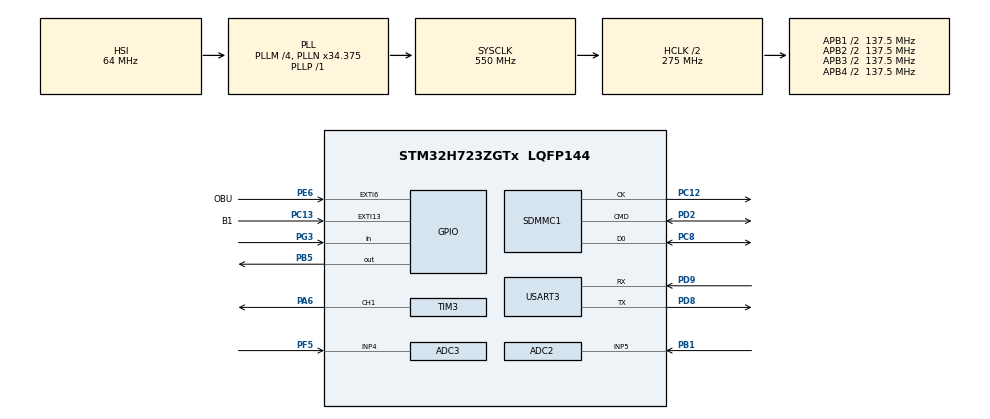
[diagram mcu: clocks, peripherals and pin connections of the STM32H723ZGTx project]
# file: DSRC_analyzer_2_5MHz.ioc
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ADC2.Channel-0\#ChannelRegularConversion=ADC_CHANNEL_5
ADC2.ConversionDataManagement=ADC_CONVERSIONDATA_DMA_CIRCULAR
ADC2.ExternalTrigConv=ADC_EXTERNALTRIG_T3_TRGO
ADC2.ExternalTrigConvEdge=ADC_EXTERNALTRIGCONVEDGE_RISINGFALLING
ADC2.NbrOfConversionFlag=1
ADC2.OffsetNumber-0\#ChannelRegularConversion=ADC_OFFSET_NONE
ADC2.OffsetSignedSaturation-0\#ChannelRegularConversion=DISABLE
ADC2.Rank-0\#ChannelRegularConversion=1
ADC2.Resolution=ADC_RESOLUTION_8B
ADC2.SamplingTime-0\#ChannelRegularConversion=ADC_SAMPLETIME_2CYCLES_5
ADC3.Channel-0\#ChannelRegularConversion=ADC_CHANNEL_4
ADC3.ConversionDataManagement=ADC_CONVERSIONDATA_DMA_CIRCULAR
ADC3.DMAContinuousRequests=ENABLE
ADC3.ExternalTrigConv=ADC_EXTERNALTRIG_T3_TRGO
ADC3.ExternalTrigConvEdge=ADC_EXTERNALTRIGCONVEDGE_RISINGFALLING
ADC3.NbrOfConversionFlag=1
ADC3.OffsetNumber-0\#ChannelRegularConversion=ADC_OFFSET_NONE
ADC3.OffsetSign-0\#ChannelRegularConversion=ADC3_OFFSET_SIGN_NEGATIVE
ADC3.Rank-0\#ChannelRegularConversion=1
ADC3.ResolutionADC3=ADC_RESOLUTION_8B
ADC3.SamplingTime-0\#ChannelRegularConversion=ADC3_SAMPLETIME_2CYCLES_5
Dma.ADC2.1.Direction=DMA_PERIPH_TO_MEMORY
Dma.ADC2.1.EventEnable=DISABLE
Dma.ADC2.1.FIFOMode=DMA_FIFOMODE_DISABLE
Dma.ADC2.1.Instance=DMA2_Stream0
Dma.ADC2.1.MemDataAlignment=DMA_MDATAALIGN_BYTE
Dma.ADC2.1.MemInc=DMA_MINC_ENABLE
Dma.ADC2.1.Mode=DMA_CIRCULAR
Dma.ADC2.1.PeriphDataAlignment=DMA_PDATAALIGN_BYTE
Dma.ADC2.1.PeriphInc=DMA_PINC_DISABLE
Dma.ADC2.1.Polarity=HAL_DMAMUX_REQ_GEN_RISING
Dma.ADC2.1.Priority=DMA_PRIORITY_VERY_HIGH
Dma.ADC2.1.RequestNumber=1
Dma.ADC2.1.SignalID=NONE
Dma.ADC2.1.SyncEnable=DISABLE
Dma.ADC2.1.SyncPolarity=HAL_DMAMUX_SYNC_NO_EVENT
Dma.ADC2.1.SyncRequestNumber=1
Dma.ADC2.1.SyncSignalID=NONE
Dma.ADC3.0.Direction=DMA_PERIPH_TO_MEMORY
Dma.ADC3.0.EventEnable=DISABLE
Dma.ADC3.0.FIFOMode=DMA_FIFOMODE_DISABLE
Dma.ADC3.0.Instance=DMA1_Stream0
Dma.ADC3.0.MemDataAlignment=DMA_MDATAALIGN_BYTE
Dma.ADC3.0.MemInc=DMA_MINC_ENABLE
Dma.ADC3.0.Mode=DMA_CIRCULAR
Dma.ADC3.0.PeriphDataAlignment=DMA_PDATAALIGN_BYTE
Dma.ADC3.0.PeriphInc=DMA_PINC_DISABLE
Dma.ADC3.0.Polarity=HAL_DMAMUX_REQ_GEN_RISING
Dma.ADC3.0.Priority=DMA_PRIORITY_VERY_HIGH
Dma.ADC3.0.RequestNumber=1
Dma.ADC3.0.SignalID=NONE
Dma.ADC3.0.SyncEnable=DISABLE
Dma.ADC3.0.SyncPolarity=HAL_DMAMUX_SYNC_NO_EVENT
Dma.ADC3.0.SyncRequestNumber=1
Dma.ADC3.0.SyncSignalID=NONE
Dma.Request0=ADC3
Dma.Request1=ADC2
FATFS.BSP.number=1
FATFS0.BSP.STBoard=false
FATFS0.BSP.api=Unknown
FATFS0.BSP.instance=PG3
FATFS0.BSP.ip=GPIO
FATFS0.BSP.mode=Input
FATFS0.BSP.name=Detect_SDIO
FATFS0.BSP.solution=PG3
Mcu.Family=STM32H7
Mcu.Name=STM32H723ZGTx
Mcu.Package=LQFP144
NVIC.DMA1_Stream0_IRQn=true\:0\:0\:false\:false\:true\:false\:true\:true
NVIC.DMA2_Stream0_IRQn=true\:0\:0\:false\:false\:true\:false\:true\:true
NVIC.EXTI15_10_IRQn=true\:0\:0\:false\:false\:true\:true\:true\:true
NVIC.EXTI9_5_IRQn=true\:0\:0\:false\:false\:true\:true\:true\:true
NVIC.PriorityGroup=NVIC_PRIORITYGROUP_4
PA6.Signal=S_TIM3_CH1
PB1.Signal=ADCx_INP5
PB5.GPIO_Speed=GPIO_SPEED_FREQ_MEDIUM
PB5.PinState=GPIO_PIN_RESET
PB5.Signal=GPIO_Output
PC12.Mode=SD_1_bit
PC12.Signal=SDMMC1_CK
PC13.GPIO_Label=B1
PC13.Signal=GPXTI13
PC8.Mode=SD_1_bit
PC8.Signal=SDMMC1_D0
PD2.Mode=SD_1_bit
PD2.Signal=SDMMC1_CMD
PD8.Mode=Asynchronous
PD8.Signal=USART3_TX
PD9.Mode=Asynchronous
PD9.Signal=USART3_RX
PE6.GPIO_Label=OBU
PE6.Signal=GPXTI6
PF5.Mode=IN4-Single-Ended
PF5.Signal=ADC3_INP4
PG3.Signal=GPIO_Input
ProjectManager.HeapSize=0x200
ProjectManager.StackSize=0x400
ProjectManager.TargetToolchain=STM32CubeIDE
RCC.ADCCLockSelection=RCC_ADCCLKSOURCE_PLL3
RCC.ADCFreq_Value=72000000
RCC.APB1Freq_Value=137500000
RCC.APB2Freq_Value=137500000
RCC.APB3Freq_Value=137500000
RCC.APB4Freq_Value=137500000
RCC.CortexFreq_Value=550000000
RCC.D1PPRE=RCC_APB3_DIV2
RCC.D2PPRE1=RCC_APB1_DIV2
RCC.D2PPRE2=RCC_APB2_DIV2
RCC.D3PPRE=RCC_APB4_DIV2
RCC.DIVM1=4
RCC.DIVM2=4
RCC.DIVM3=4
RCC.DIVN1=34
RCC.DIVN2=12
RCC.DIVN3=18
RCC.DIVP1=1
RCC.DIVQ1=5
RCC.DIVR2=1
RCC.DIVR3=4
RCC.HCLKFreq_Value=275000000
RCC.HPRE=RCC_HCLK_DIV2
RCC.PLL2FRACN=0
RCC.PLL3FRACN=0
RCC.PLLFRACN=3072
RCC.SDMMC1CLockSelection=RCC_SDMMCCLKSOURCE_PLL2
RCC.SYSCLKFreq_VALUE=550000000
RCC.SYSCLKSource=RCC_SYSCLKSOURCE_PLLCLK
RCC.USBFreq_Value=110000000
SDMMC1.ClockDiv=4
SH.ADCx_INP5.0=ADC2_INP5,IN5-Single-Ended
SH.S_TIM3_CH1.0=TIM3_CH1,Output Compare1 CH1
TIM3.Channel-Output\ Compare1\ CH1=TIM_CHANNEL_1
TIM3.OCMode_1=TIM_OCMODE_TOGGLE
TIM3.Period=109
TIM3.TIM_MasterOutputTrigger=TIM_TRGO_UPDATE
USART3.VirtualMode-Asynchronous=VM_ASYNC
VP_FATFS_VS_SDIO.Mode=SDIO
VP_TIM3_VS_ClockSourceINT.Mode=Internal
board=custom

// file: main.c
/* USER CODE BEGIN Header */
/**
  ******************************************************************************
  * @file           : main.c
  * @brief          : Main program body
  ******************************************************************************
  * @attention
  *
  * Copyright (c) 2023 STMicroelectronics.
  * All rights reserved.
  *
  * This software is licensed under terms that can be found in the LICENSE file
  * in the root directory of this software component.
  * If no LICENSE file comes with this software, it is provided AS-IS.
  *
  ******************************************************************************
  */
/* USER CODE END Header */
#include "main.h"
#include "fatfs.h"

/* USER CODE BEGIN Includes */
#include <string.h>
#include <stdbool.h>
#include <stdio.h>
/* USER CODE END Includes */

/* USER CODE BEGIN PD */
#define DMABUFLEN 25000
#define HALFBUFLEN 12500
#define DATABUFLEN 125000
/* USER CODE END PD */

ADC_HandleTypeDef hadc2;
ADC_HandleTypeDef hadc3;
DMA_HandleTypeDef hdma_adc2;
DMA_HandleTypeDef hdma_adc3;

SD_HandleTypeDef hsd1;

TIM_HandleTypeDef htim3;

UART_HandleTypeDef huart3;

/* USER CODE BEGIN PV */
uint8_t dmaBuffer[DMABUFLEN];
uint8_t dataBuffer[DATABUFLEN];
uint8_t dmaBuffer2[DMABUFLEN];
uint8_t dataBuffer2[DATABUFLEN];
uint8_t *srcBufPtr;
bool OBU_interrupted;
static volatile bool doHalfConv;//DMA1
static volatile bool doFullConv;
static volatile bool doHalfConv2;//DMA2
static volatile bool doFullConv2;
static volatile uint8_t last_isrID;
static uint8_t idx; //0 - 9
static uint8_t idx2; //0 - 9
static volatile bool OBUInterrupt;
static volatile bool buttonPressed;
/* USER CODE END PV */

void SystemClock_Config(void);
void PeriphCommonClock_Config(void);
static void MX_GPIO_Init(void);
static void MX_DMA_Init(void);
static void MX_ADC3_Init(void);
static void MX_TIM3_Init(void);
static void MX_SDMMC1_SD_Init(void);
static void MX_USART3_UART_Init(void);
static void MX_ADC2_Init(void);
/* USER CODE BEGIN PFP */
void PrintUART(const char *str);
int init_SD_Card(void);
/* USER CODE END PFP */

/* USER CODE BEGIN 0 */
const char filename[] = "data_tx.txt";
const char filename2[] = "data_rx.txt";
/* USER CODE END 0 */

int main(void)
{
  /* USER CODE BEGIN 1 */
	FRESULT res;
	uint32_t byteswritten;
	char wtext[100] = "STM32 FATFS TEST 1";
	int err;
	OBUInterrupt = false;
	buttonPressed = false;
	for(int i = 0; i < DMABUFLEN; i++){
		dmaBuffer[i]=0;
		dmaBuffer2[i]=0;
	}
	for(int i = 0; i < DATABUFLEN; i++){
		dataBuffer[i]=0;
		dataBuffer2[i]=0;
	}
	doHalfConv = false;
	doFullConv = false;
	doHalfConv2 = false;
	doFullConv2 = false;
	idx = 9;
	idx2 = 9;
	last_isrID = 0;
	__NOP();
  /* USER CODE END 1 */

  /* MCU Configuration--------------------------------------------------------*/

  /* Reset of all peripherals, Initializes the Flash interface and the Systick. */
  HAL_Init();

  /* Configure the system clock */
  SystemClock_Config();

/* Configure the peripherals common clocks */
  PeriphCommonClock_Config();

  /* Initialize all configured peripherals */
  MX_GPIO_Init();
  MX_DMA_Init();
  MX_ADC3_Init();
  MX_TIM3_Init();
  MX_SDMMC1_SD_Init();
  MX_USART3_UART_Init();
  MX_FATFS_Init();
  MX_ADC2_Init();
  /* USER CODE BEGIN 2 */

  HAL_TIM_Base_Start(&htim3);
  HAL_TIM_OC_Start(&htim3, TIM_CHANNEL_1); //Debug line
  PrintUART("\r\n");
  PrintUART("------------------------\r\n");
  PrintUART("-DSRC Analyzer started!-\r\n");
  PrintUART("------------------------\r\n");
  PrintUART("\r\n");
  err = init_SD_Card();
  if(err){
	  PrintUART("[SD] SD Card missing\r\n\r\n");
	  PrintUART("     [INSERT SD CARD]\r\n\r\n");
  	  while(init_SD_Card()){
  		  HAL_Delay(10);
  	  }
  }
  PrintUART("[SD] Card Detected!\r\n");
  PrintUART("     [PRESS BUTTON 1 TO CONTINUE]\r\n");

  while(!buttonPressed);
  buttonPressed = false;

  PrintUART("[FATFS] Trying to mount SD ...\r\n");
  if(f_mount(&SDFatFS, (TCHAR const*)SDPath, 1) != FR_OK){
	  PrintUART("[FATFS] Mount Failed\r\n");
  }else{
	  PrintUART("[FATFS] Mount Success\r\n");
  }
  if(f_open(&SDFile, filename, FA_CREATE_ALWAYS | FA_WRITE) != FR_OK){
	  PrintUART("[FATFS] File open/make Failed\r\n");
  }else{
	  PrintUART("[FATFS] File open/make Success\r\n");
	  res = f_write(&SDFile, wtext, strlen((char *)wtext), (void *)&byteswritten);
	  if((byteswritten == 0) || (res != FR_OK))
	  {
		  PrintUART("[FATFS] Write Failed\r\n");
	  }else{
		  PrintUART("[FATFS] Write Success\r\n");
		  f_close(&SDFile);
	  }
  }

  PrintUART("     [PRESS BUTTON 1 TO START ADC]\r\n");
  while(!buttonPressed);
  buttonPressed = false;
  PrintUART("     [PRESS BUTTON 1 OR WAIT FOR OBU TO STOP ADC ]\r\n");
  HAL_ADC_Start_DMA(&hadc3, (uint32_t *)dmaBuffer, DMABUFLEN);
  //HAL_Delay(2);
  HAL_ADC_Start_DMA(&hadc2, (uint32_t *)dmaBuffer2, DMABUFLEN);
  /* USER CODE END 2 */

  /* Infinite loop */
  /* USER CODE BEGIN WHILE */
  while (1)
  {
	  if(doHalfConv){
		  PrintUART("1\r\n");
		  idx++;
		  memcpy(&dataBuffer[idx * HALFBUFLEN], &dmaBuffer[0], HALFBUFLEN);
		  __disable_irq();
		  doHalfConv = false;
		  __enable_irq();

	  }else if(doFullConv){
		  PrintUART("2\r\n");
		  idx++;
		  if(idx > 9){
			  idx = 0;
		  }
		  memcpy(&dataBuffer[idx * HALFBUFLEN], &dmaBuffer[HALFBUFLEN], HALFBUFLEN);
		  __disable_irq();
		  doFullConv = false;
		  __enable_irq();

	  }else if(doHalfConv2){
		  PrintUART("3\r\n");
		  idx2++;
		  memcpy(&dataBuffer2[idx2 * HALFBUFLEN], &dmaBuffer2[0], HALFBUFLEN);
		  __disable_irq();
		  doHalfConv2 = false;
		  __enable_irq();

	  }else if(doFullConv2){
		  PrintUART("4\r\n");
		  idx2++;
		  if(idx2 > 9){
			  idx2 = 0;
		  }
		  memcpy(&dataBuffer2[idx2 * HALFBUFLEN], &dmaBuffer2[HALFBUFLEN], HALFBUFLEN);
		  __disable_irq();
		  doFullConv2 = false;
		  __enable_irq();

	  }else if(OBUInterrupt){
		  HAL_ADC_Stop_DMA(&hadc3);
		  HAL_ADC_Stop_DMA(&hadc2);
		  PrintUART("5\r\n");
		  __disable_irq();
		  OBUInterrupt = false;
		  buttonPressed = false;
		  __enable_irq();
		  HAL_Delay(100);
		  PrintUART("[INTERRUPT] Button pressed or OBU GPIO trigger!\r\n");
		  HAL_Delay(200);
		  PrintUART("[SD] Well...\r\n");
		  if(f_mount(&SDFatFS, (TCHAR const*)SDPath, 1) != FR_OK){
			  PrintUART("[FATFS] Mount Failed\r\n");
		  }else{
			  PrintUART("[FATFS] Mount Success\r\n");
		  }

		  //Write file 1 RX
		  if(f_open(&SDFile, filename, FA_CREATE_ALWAYS | FA_WRITE) != FR_OK){
			  PrintUART("[FATFS] File open/make Failed\r\n");
		  }else{
			  PrintUART("[FATFS] File open/make Success\r\n");
			  res = f_write(&SDFile, dataBuffer, sizeof(dataBuffer), (void *)&byteswritten);
			  if((byteswritten == 0) || (res != FR_OK)){
				  PrintUART("[FATFS] Write Failed\r\n");
			  }else{
				  PrintUART("[FATFS] Write Success\r\n");
				  f_close(&SDFile);
			  }

		    	  //f_close(&SDFile);
		    	/* do something */
			  PrintUART("[FATFS] File1 written success\r\n");
			  sprintf(wtext, "Bytes: %lu \r\n", byteswritten);
			  PrintUART(wtext);
		  }

		  //Write file 2 TX
		  if(f_open(&SDFile, filename2, FA_CREATE_ALWAYS | FA_WRITE) != FR_OK){
			  PrintUART("[FATFS] File open/make Failed\r\n");
		  }else{
			  PrintUART("[FATFS] File open/make Success\r\n");
			  res = f_write(&SDFile, dataBuffer2, sizeof(dataBuffer2), (void *)&byteswritten);
			  if((byteswritten == 0) || (res != FR_OK)){
				  PrintUART("[FATFS] Write Failed\r\n");
			  }else{
				  PrintUART("[FATFS] Write Success\r\n");
				  f_close(&SDFile);
			  }
			  PrintUART("[FATFS] File 2 written success\r\n");
			  sprintf(wtext, "Bytes: %lu \r\n", byteswritten);
			  PrintUART(wtext);
		  }
	  }
    /* USER CODE END WHILE */

  }
}

void SystemClock_Config(void)
{
  RCC_OscInitTypeDef RCC_OscInitStruct = {0};
  RCC_ClkInitTypeDef RCC_ClkInitStruct = {0};

  /** Supply configuration update enable
  */
  HAL_PWREx_ConfigSupply(PWR_LDO_SUPPLY);

  /** Configure the main internal regulator output voltage
  */
  __HAL_PWR_VOLTAGESCALING_CONFIG(PWR_REGULATOR_VOLTAGE_SCALE0);

  while(!__HAL_PWR_GET_FLAG(PWR_FLAG_VOSRDY)) {}

  /** Initializes the RCC Oscillators according to the specified parameters
  * in the RCC_OscInitTypeDef structure.
  */
  RCC_OscInitStruct.OscillatorType = RCC_OSCILLATORTYPE_HSI;
  RCC_OscInitStruct.HSIState = RCC_HSI_DIV1;
  RCC_OscInitStruct.HSICalibrationValue = 64;
  RCC_OscInitStruct.PLL.PLLState = RCC_PLL_ON;
  RCC_OscInitStruct.PLL.PLLSource = RCC_PLLSOURCE_HSI;
  RCC_OscInitStruct.PLL.PLLM = 4;
  RCC_OscInitStruct.PLL.PLLN = 34;
  RCC_OscInitStruct.PLL.PLLP = 1;
  RCC_OscInitStruct.PLL.PLLQ = 5;
  RCC_OscInitStruct.PLL.PLLR = 2;
  RCC_OscInitStruct.PLL.PLLRGE = RCC_PLL1VCIRANGE_3;
  RCC_OscInitStruct.PLL.PLLVCOSEL = RCC_PLL1VCOWIDE;
  RCC_OscInitStruct.PLL.PLLFRACN = 3072;
  if (HAL_RCC_OscConfig(&RCC_OscInitStruct) != HAL_OK)
  {
    Error_Handler();
  }

  /** Initializes the CPU, AHB and APB buses clocks
  */
  RCC_ClkInitStruct.ClockType = RCC_CLOCKTYPE_HCLK|RCC_CLOCKTYPE_SYSCLK
                              |RCC_CLOCKTYPE_PCLK1|RCC_CLOCKTYPE_PCLK2
                              |RCC_CLOCKTYPE_D3PCLK1|RCC_CLOCKTYPE_D1PCLK1;
  RCC_ClkInitStruct.SYSCLKSource = RCC_SYSCLKSOURCE_PLLCLK;
  RCC_ClkInitStruct.SYSCLKDivider = RCC_SYSCLK_DIV1;
  RCC_ClkInitStruct.AHBCLKDivider = RCC_HCLK_DIV2;
  RCC_ClkInitStruct.APB3CLKDivider = RCC_APB3_DIV2;
  RCC_ClkInitStruct.APB1CLKDivider = RCC_APB1_DIV2;
  RCC_ClkInitStruct.APB2CLKDivider = RCC_APB2_DIV2;
  RCC_ClkInitStruct.APB4CLKDivider = RCC_APB4_DIV2;

  if (HAL_RCC_ClockConfig(&RCC_ClkInitStruct, FLASH_LATENCY_3) != HAL_OK)
  {
    Error_Handler();
  }
}

void PeriphCommonClock_Config(void)
{
  RCC_PeriphCLKInitTypeDef PeriphClkInitStruct = {0};

  /** Initializes the peripherals clock
  */
  PeriphClkInitStruct.PeriphClockSelection = RCC_PERIPHCLK_ADC;
  PeriphClkInitStruct.PLL3.PLL3M = 4;
  PeriphClkInitStruct.PLL3.PLL3N = 18;
  PeriphClkInitStruct.PLL3.PLL3P = 2;
  PeriphClkInitStruct.PLL3.PLL3Q = 2;
  PeriphClkInitStruct.PLL3.PLL3R = 4;
  PeriphClkInitStruct.PLL3.PLL3RGE = RCC_PLL3VCIRANGE_3;
  PeriphClkInitStruct.PLL3.PLL3VCOSEL = RCC_PLL3VCOWIDE;
  PeriphClkInitStruct.PLL3.PLL3FRACN = 0;
  PeriphClkInitStruct.AdcClockSelection = RCC_ADCCLKSOURCE_PLL3;
  if (HAL_RCCEx_PeriphCLKConfig(&PeriphClkInitStruct) != HAL_OK)
  {
    Error_Handler();
  }
}

static void MX_ADC2_Init(void)
{

  ADC_ChannelConfTypeDef sConfig = {0};

  /** Common config
  */
  hadc2.Instance = ADC2;
  hadc2.Init.ClockPrescaler = ADC_CLOCK_ASYNC_DIV1;
  hadc2.Init.Resolution = ADC_RESOLUTION_8B;
  hadc2.Init.ScanConvMode = ADC_SCAN_DISABLE;
  hadc2.Init.EOCSelection = ADC_EOC_SINGLE_CONV;
  hadc2.Init.LowPowerAutoWait = DISABLE;
  hadc2.Init.ContinuousConvMode = DISABLE;
  hadc2.Init.NbrOfConversion = 1;
  hadc2.Init.DiscontinuousConvMode = DISABLE;
  hadc2.Init.ExternalTrigConv = ADC_EXTERNALTRIG_T3_TRGO;
  hadc2.Init.ExternalTrigConvEdge = ADC_EXTERNALTRIGCONVEDGE_RISINGFALLING;
  hadc2.Init.DMAContinuousRequests = ENABLE;
  hadc2.Init.ConversionDataManagement = ADC_CONVERSIONDATA_DMA_CIRCULAR;
  hadc2.Init.Overrun = ADC_OVR_DATA_PRESERVED;
  hadc2.Init.LeftBitShift = ADC_LEFTBITSHIFT_NONE;
  hadc2.Init.OversamplingMode = DISABLE;
  if (HAL_ADC_Init(&hadc2) != HAL_OK)
  {
    Error_Handler();
  }

  /** Configure Regular Channel
  */
  sConfig.Channel = ADC_CHANNEL_5;
  sConfig.Rank = ADC_REGULAR_RANK_1;
  sConfig.SamplingTime = ADC_SAMPLETIME_2CYCLES_5;
  sConfig.SingleDiff = ADC_SINGLE_ENDED;
  sConfig.OffsetNumber = ADC_OFFSET_NONE;
  sConfig.Offset = 0;
  sConfig.OffsetSignedSaturation = DISABLE;
  if (HAL_ADC_ConfigChannel(&hadc2, &sConfig) != HAL_OK)
  {
    Error_Handler();
  }
  /* USER CODE BEGIN ADC2_Init 2 */

  /*
   sConfig.OffsetSign = ADC3_OFFSET_SIGN_NEGATIVE;
   */

  /* USER CODE END ADC2_Init 2 */

}

static void MX_ADC3_Init(void)
{

  ADC_ChannelConfTypeDef sConfig = {0};

  /** Common config
  */
  hadc3.Instance = ADC3;
  hadc3.Init.ClockPrescaler = ADC_CLOCK_ASYNC_DIV1;
  hadc3.Init.Resolution = ADC_RESOLUTION_8B;
  hadc3.Init.DataAlign = ADC3_DATAALIGN_RIGHT;
  hadc3.Init.ScanConvMode = ADC_SCAN_DISABLE;
  hadc3.Init.EOCSelection = ADC_EOC_SINGLE_CONV;
  hadc3.Init.LowPowerAutoWait = DISABLE;
  hadc3.Init.ContinuousConvMode = DISABLE;
  hadc3.Init.NbrOfConversion = 1;
  hadc3.Init.DiscontinuousConvMode = DISABLE;
  hadc3.Init.ExternalTrigConv = ADC_EXTERNALTRIG_T3_TRGO;
  hadc3.Init.ExternalTrigConvEdge = ADC_EXTERNALTRIGCONVEDGE_RISINGFALLING;
  hadc3.Init.DMAContinuousRequests = ENABLE;
  hadc3.Init.SamplingMode = ADC_SAMPLING_MODE_NORMAL;
  hadc3.Init.ConversionDataManagement = ADC_CONVERSIONDATA_DMA_CIRCULAR;
  hadc3.Init.Overrun = ADC_OVR_DATA_PRESERVED;
  hadc3.Init.LeftBitShift = ADC_LEFTBITSHIFT_NONE;
  hadc3.Init.OversamplingMode = DISABLE;
  if (HAL_ADC_Init(&hadc3) != HAL_OK)
  {
    Error_Handler();
  }

  /** Configure Regular Channel
  */
  sConfig.Channel = ADC_CHANNEL_4;
  sConfig.Rank = ADC_REGULAR_RANK_1;
  sConfig.SamplingTime = ADC3_SAMPLETIME_2CYCLES_5;
  sConfig.SingleDiff = ADC_SINGLE_ENDED;
  sConfig.OffsetNumber = ADC_OFFSET_NONE;
  sConfig.Offset = 0;
  sConfig.OffsetSignedSaturation = DISABLE;
  sConfig.OffsetSign = ADC3_OFFSET_SIGN_NEGATIVE;
  if (HAL_ADC_ConfigChannel(&hadc3, &sConfig) != HAL_OK)
  {
    Error_Handler();
  }

}

static void MX_SDMMC1_SD_Init(void)
{

  hsd1.Instance = SDMMC1;
  hsd1.Init.ClockEdge = SDMMC_CLOCK_EDGE_RISING;
  hsd1.Init.ClockPowerSave = SDMMC_CLOCK_POWER_SAVE_DISABLE;
  hsd1.Init.BusWide = SDMMC_BUS_WIDE_1B;
  hsd1.Init.HardwareFlowControl = SDMMC_HARDWARE_FLOW_CONTROL_DISABLE;
  hsd1.Init.ClockDiv = 4;

}

static void MX_TIM3_Init(void)
{

  TIM_ClockConfigTypeDef sClockSourceConfig = {0};
  TIM_MasterConfigTypeDef sMasterConfig = {0};
  TIM_OC_InitTypeDef sConfigOC = {0};

  htim3.Instance = TIM3;
  htim3.Init.Prescaler = 0;
  htim3.Init.CounterMode = TIM_COUNTERMODE_UP;
  htim3.Init.Period = 109;
  htim3.Init.ClockDivision = TIM_CLOCKDIVISION_DIV1;
  htim3.Init.AutoReloadPreload = TIM_AUTORELOAD_PRELOAD_DISABLE;
  if (HAL_TIM_Base_Init(&htim3) != HAL_OK)
  {
    Error_Handler();
  }
  sClockSourceConfig.ClockSource = TIM_CLOCKSOURCE_INTERNAL;
  if (HAL_TIM_ConfigClockSource(&htim3, &sClockSourceConfig) != HAL_OK)
  {
    Error_Handler();
  }
  if (HAL_TIM_OC_Init(&htim3) != HAL_OK)
  {
    Error_Handler();
  }
  sMasterConfig.MasterOutputTrigger = TIM_TRGO_UPDATE;
  sMasterConfig.MasterSlaveMode = TIM_MASTERSLAVEMODE_DISABLE;
  if (HAL_TIMEx_MasterConfigSynchronization(&htim3, &sMasterConfig) != HAL_OK)
  {
    Error_Handler();
  }
  sConfigOC.OCMode = TIM_OCMODE_TOGGLE;
  sConfigOC.Pulse = 0;
  sConfigOC.OCPolarity = TIM_OCPOLARITY_HIGH;
  sConfigOC.OCFastMode = TIM_OCFAST_DISABLE;
  if (HAL_TIM_OC_ConfigChannel(&htim3, &sConfigOC, TIM_CHANNEL_1) != HAL_OK)
  {
    Error_Handler();
  }
  HAL_TIM_MspPostInit(&htim3);

}

static void MX_USART3_UART_Init(void)
{

  huart3.Instance = USART3;
  huart3.Init.BaudRate = 115200;
  huart3.Init.WordLength = UART_WORDLENGTH_8B;
  huart3.Init.StopBits = UART_STOPBITS_1;
  huart3.Init.Parity = UART_PARITY_NONE;
  huart3.Init.Mode = UART_MODE_TX_RX;
  huart3.Init.HwFlowCtl = UART_HWCONTROL_NONE;
  huart3.Init.OverSampling = UART_OVERSAMPLING_16;
  huart3.Init.OneBitSampling = UART_ONE_BIT_SAMPLE_DISABLE;
  huart3.Init.ClockPrescaler = UART_PRESCALER_DIV1;
  huart3.AdvancedInit.AdvFeatureInit = UART_ADVFEATURE_NO_INIT;
  if (HAL_UART_Init(&huart3) != HAL_OK)
  {
    Error_Handler();
  }
  if (HAL_UARTEx_SetTxFifoThreshold(&huart3, UART_TXFIFO_THRESHOLD_1_8) != HAL_OK)
  {
    Error_Handler();
  }
  if (HAL_UARTEx_SetRxFifoThreshold(&huart3, UART_RXFIFO_THRESHOLD_1_8) != HAL_OK)
  {
    Error_Handler();
  }
  if (HAL_UARTEx_DisableFifoMode(&huart3) != HAL_OK)
  {
    Error_Handler();
  }

}

static void MX_DMA_Init(void)
{

  /* DMA controller clock enable */
  __HAL_RCC_DMA1_CLK_ENABLE();
  __HAL_RCC_DMA2_CLK_ENABLE();

  /* DMA interrupt init */
  /* DMA1_Stream0_IRQn interrupt configuration */
  HAL_NVIC_SetPriority(DMA1_Stream0_IRQn, 0, 0);
  HAL_NVIC_EnableIRQ(DMA1_Stream0_IRQn);
  /* DMA2_Stream0_IRQn interrupt configuration */
  HAL_NVIC_SetPriority(DMA2_Stream0_IRQn, 0, 0);
  HAL_NVIC_EnableIRQ(DMA2_Stream0_IRQn);

}

static void MX_GPIO_Init(void)
{
  GPIO_InitTypeDef GPIO_InitStruct = {0};

  /* GPIO Ports Clock Enable */
  __HAL_RCC_GPIOE_CLK_ENABLE();
  __HAL_RCC_GPIOC_CLK_ENABLE();
  __HAL_RCC_GPIOF_CLK_ENABLE();
  __HAL_RCC_GPIOA_CLK_ENABLE();
  __HAL_RCC_GPIOB_CLK_ENABLE();
  __HAL_RCC_GPIOD_CLK_ENABLE();
  __HAL_RCC_GPIOG_CLK_ENABLE();

  /*Configure GPIO pin Output Level */
  HAL_GPIO_WritePin(GPIOB, GPIO_PIN_5, GPIO_PIN_RESET);

  /*Configure GPIO pin : OBU_Pin */
  GPIO_InitStruct.Pin = OBU_Pin;
  GPIO_InitStruct.Mode = GPIO_MODE_IT_RISING;
  GPIO_InitStruct.Pull = GPIO_NOPULL;
  HAL_GPIO_Init(OBU_GPIO_Port, &GPIO_InitStruct);

  /*Configure GPIO pin : B1_Pin */
  GPIO_InitStruct.Pin = B1_Pin;
  GPIO_InitStruct.Mode = GPIO_MODE_IT_RISING;
  GPIO_InitStruct.Pull = GPIO_NOPULL;
  HAL_GPIO_Init(B1_GPIO_Port, &GPIO_InitStruct);

  /*Configure GPIO pin : PG3 */
  GPIO_InitStruct.Pin = GPIO_PIN_3;
  GPIO_InitStruct.Mode = GPIO_MODE_INPUT;
  GPIO_InitStruct.Pull = GPIO_NOPULL;
  HAL_GPIO_Init(GPIOG, &GPIO_InitStruct);

  /*Configure GPIO pin : PB5 */
  GPIO_InitStruct.Pin = GPIO_PIN_5;
  GPIO_InitStruct.Mode = GPIO_MODE_OUTPUT_PP;
  GPIO_InitStruct.Pull = GPIO_NOPULL;
  GPIO_InitStruct.Speed = GPIO_SPEED_FREQ_MEDIUM;
  HAL_GPIO_Init(GPIOB, &GPIO_InitStruct);

  /* EXTI interrupt init*/
  HAL_NVIC_SetPriority(EXTI9_5_IRQn, 0, 0);
  HAL_NVIC_EnableIRQ(EXTI9_5_IRQn);

  HAL_NVIC_SetPriority(EXTI15_10_IRQn, 0, 0);
  HAL_NVIC_EnableIRQ(EXTI15_10_IRQn);

}

/* USER CODE BEGIN 4 */
void HAL_ADC_ConvCpltCallback(ADC_HandleTypeDef* hadc)
{
	//PrintUART("[INTERRUPT] DMA1 INTERRUPT\r\n");
	if(hadc == &hadc3){
		if(last_isrID == 1){
			//NVIC_ClearPendingIRQ;
			return;
		}
		last_isrID = 1;
		doHalfConv = true;
	}else if(hadc == &hadc2){
		if(last_isrID == 3){
			//NVIC_ClearPendingIRQ;
			return;
		}
		last_isrID = 3;
		doHalfConv2 = true;
	}
	//NVIC_ClearPendingIRQ;
}
void HAL_ADC_ConvHalfCpltCallback(ADC_HandleTypeDef* hadc)
{
	//PrintUART("[INTERRUPT] DMA2 INTERRUPT\r\n");
	if(hadc == &hadc3){
		if(last_isrID == 2){
			//NVIC_ClearPendingIRQ;
			return;
		}
		last_isrID = 2;
		doFullConv = true;
	}else if(hadc == &hadc2){
		if(last_isrID == 4){
			//NVIC_ClearPendingIRQ;
			return;
		}
		last_isrID = 4;
		doFullConv2 = true;
	}
	return;
	//NVIC_ClearPendingIRQ;
}

void PrintUART(const char *str){ //For debug purpouse
	HAL_UART_Transmit(&huart3, (uint8_t *)str, strlen(str), 1000);
}

void HAL_GPIO_EXTI_Callback(uint16_t GPIO_Pin)
{
  /* Prevent unused argument(s) compilation warning */
  UNUSED(GPIO_Pin);

  /* NOTE: This function Should not be modified, when the callback is needed,
           the HAL_GPIO_EXTI_Callback could be implemented in the user file
   */
  //PrintUART("[INTERRUPT] GPIO INTERRUPT\r\n");
  if(GPIO_Pin == B1_Pin) // If The INT Source Is EXTI Line9 (A9 Pin)
  {
	  buttonPressed = true;
  }else if(GPIO_Pin == OBU_Pin){
	  OBUInterrupt = true;
	  //__disable_irq();
  }
  return;
  //NVIC_ClearPendingIRQ;
}

int init_SD_Card(void)
{
	HAL_SD_DeInit(&hsd1); //In case of re-initialization

	if (HAL_SD_Init(&hsd1) != HAL_OK)
	{
		return 1;
	}
	return 0;
}
/* USER CODE END 4 */

void Error_Handler(void)
{
  __disable_irq();
  while (1)
  {
  }
}
